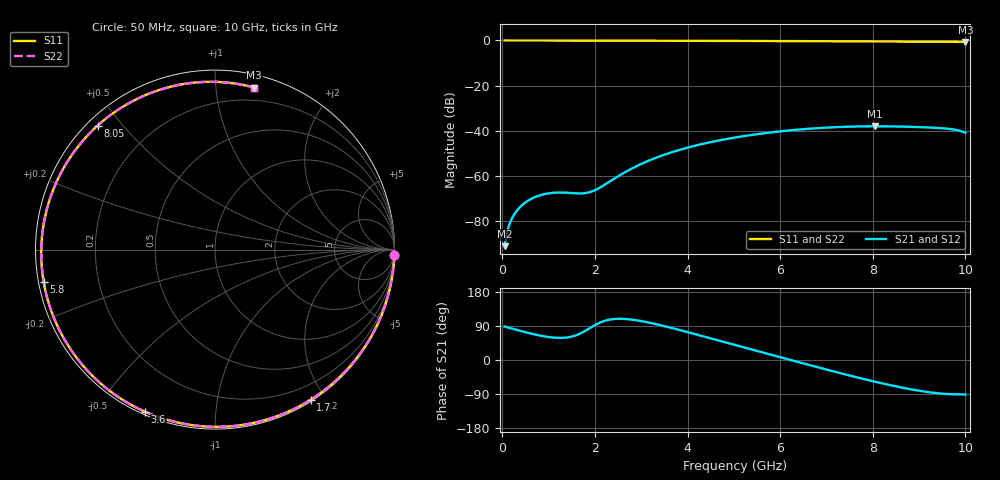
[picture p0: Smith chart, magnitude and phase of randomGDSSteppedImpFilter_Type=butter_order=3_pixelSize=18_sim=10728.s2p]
! freq	dB(S11)	phase(S11)	dB(S12)	phase(S12)
!  dB(S21)	phase(S21)	dB(S22)	phase(S22)
!S-par simulation data
#  GHz  S  DB  R 50
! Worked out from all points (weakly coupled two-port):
!   200 points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, 50 MHz to 10 GHz, reference 50 ohm
!   highest |S21| = -38.03 dB at 8.05 GHz (marker M1); lowest = -91.1 dB at 50 MHz (marker M2)
!   lowest |S11| = -0.6 dB at 10 GHz (marker M3), VSWR 27.14, Z = 4.81 + j63.3 ohm
!   |S11| at or under -10 dB: nowhere
!   |S22| runs from -0.6 to 0.0 dB; largest |S21 - S12| = 0
!   S11 on the Smith chart (normalised r, x): 50 MHz: 0, -65; 1.7 GHz: 0.02, -1.83; 3.6 GHz: 0.01, -0.66; 5.8 GHz: 0.01, -0.09; 8.05 GHz: 0.03, +0.43; 10 GHz: 0.10, +1.27
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0.05  -0.00 -1.8  -91.13 88.3  -91.13 88.3  -0.00 -1.8
0.15  -0.01 -5.3  -81.63 84.9  -81.63 84.9  -0.01 -5.3
0.45  -0.02 -15.6  -72.54 74.9  -72.54 74.9  -0.02 -15.6
0.75  -0.03 -25.9  -69.04 66.1  -69.04 66.1  -0.03 -25.9
1.15  -0.05 -39.4  -67.41 58.7  -67.41 58.7  -0.05 -39.4
1.7  -0.07 -57.4  -67.78 70.9  -67.78 70.9  -0.07 -57.4
1.75  -0.07 -59.0  -67.72 74.1  -67.72 74.1  -0.07 -59.0
2.05  -0.08 -68.4  -65.83 95.3  -65.83 95.3  -0.08 -68.4
2.55  -0.10 -83.6  -59.55 108.8  -59.55 108.8  -0.10 -83.6
2.95  -0.12 -95.2  -55.17 103.8  -55.17 103.8  -0.12 -95.2
3.4  -0.13 -107.8  -51.33 92.3  -51.33 92.3  -0.13 -107.8
3.6  -0.14 -113.3  -49.91 86.3  -49.91 86.3  -0.14 -113.3
4.35  -0.17 -133.0  -45.71 62.1  -45.71 62.1  -0.17 -133.0
5.05  -0.21 -150.7  -42.92 38.8  -42.92 38.8  -0.21 -150.7
5.8  -0.25 -169.3  -40.74 14.0  -40.74 14.0  -0.25 -169.2
6.7  -0.32 168.4  -38.99 -15.6  -38.99 -15.6  -0.32 168.5
7.35  -0.37 151.9  -38.28 -36.4  -38.28 -36.4  -0.37 151.9
8.05  -0.43 133.4  -38.03 -57.4  -38.03 -57.4  -0.43 133.4
8.35  -0.46 125.2  -38.06 -65.7  -38.06 -65.7  -0.46 125.2
9.2  -0.55 100.8  -38.54 -84.8  -38.54 -84.8  -0.55 100.8
9.7  -0.60 85.7  -39.31 -90.2  -39.31 -90.2  -0.60 85.7
10  -0.64 76.4  -40.85 -91.4  -40.85 -91.4  -0.64 76.4
